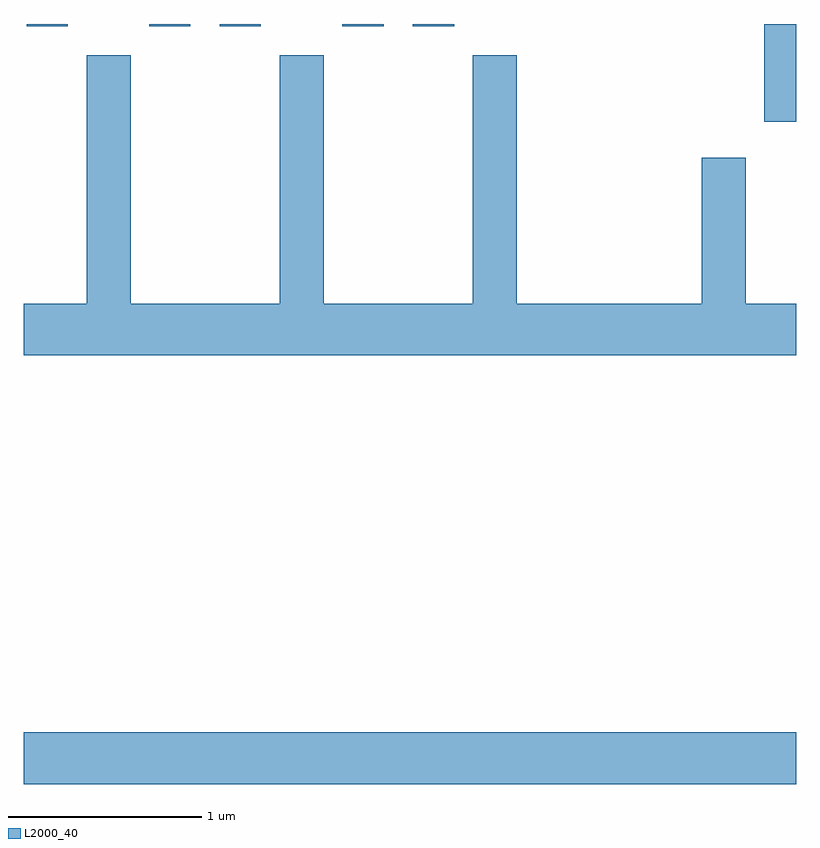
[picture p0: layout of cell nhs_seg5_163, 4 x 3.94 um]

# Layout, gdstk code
import gdstk
lib = gdstk.Library(unit=1e-6, precision=1e-09)
def R(c, l, rs):  # rectangles x0, y0, x1, y1
    for r in rs: c.add(gdstk.rectangle(r[:2], r[2:], *l))
def P(c, l, *ps):  # polygons
    for p in ps: c.add(gdstk.Polygon(p, *l))
L2000_40 = (2000, 40)

nhs_seg5_163 = lib.new_cell('nhs_seg5_163')
R(nhs_seg5_163, L2000_40, [(189.611,1450.136,193.611,1450.404), (193.446,1453.566,193.611,1454.072), (189.626,1454.061,189.839,1454.072), (190.261,1454.061,190.474,1454.072), (190.626,1454.061,190.839,1454.072), (191.261,1454.061,191.474,1454.072), (191.626,1454.061,191.839,1454.072)])
P(nhs_seg5_163, L2000_40, [(193.611,1452.624),(193.349,1452.624),(193.349,1453.379),(193.121,1453.379),(193.121,1452.624),(192.164,1452.624),(192.164,1453.909),(191.936,1453.909),(191.936,1452.624),(191.164,1452.624),(191.164,1453.909),(190.936,1453.909),(190.936,1452.624),(190.164,1452.624),(190.164,1453.909),(189.936,1453.909),(189.936,1452.624),(189.611,1452.624),(189.611,1452.356),(193.611,1452.356)])

lib.write_gds('nhs_seg5_163.gds')
